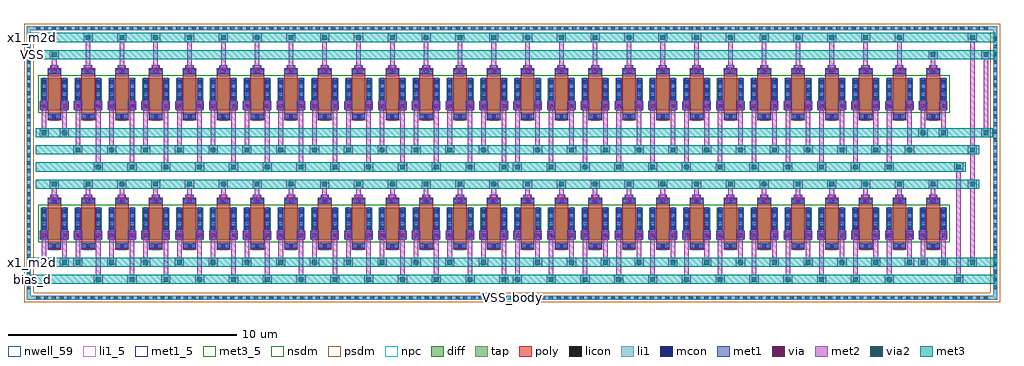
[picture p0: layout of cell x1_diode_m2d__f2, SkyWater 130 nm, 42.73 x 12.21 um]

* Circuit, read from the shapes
.subckt x1_diode_m2d__f2 VSS VSS_body bias_d x1_m2d
XM1 x1_m2d x1_m2d x1_m2d VSS_body sky130_fd_pr__nfet_01v8 w=1.4 l=0.6 m=2
XM2 VSS VSS VSS VSS_body sky130_fd_pr__nfet_01v8 w=1.4 l=0.6 m=2
XM3 bias_d x1_m2d x1_m2d VSS_body sky130_fd_pr__nfet_01v8 w=1.4 l=0.6 m=50
.ends

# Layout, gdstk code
from math import pi, radians
import gdstk
lib = gdstk.Library(unit=1e-6, precision=1e-09)
def R(c, l, rs):  # rectangles x0, y0, x1, y1
    for r in rs: c.add(gdstk.rectangle(r[:2], r[2:], *l))
def A(c, l, x, y, w, h, nx, ny, dx, dy):  # array of equal rectangles
    R(c, l, [(x+i*dx, y+j*dy, x+i*dx+w, y+j*dy+h) for i in range(nx) for j in range(ny)])
nwell_59 = (64, 59)
diff = (65, 20)
tap = (65, 44)
poly = (66, 20)
licon = (66, 44)
li1_5 = (67, 5)
li1 = (67, 20)
mcon = (67, 44)
met1_5 = (68, 5)
met1 = (68, 20)
via = (68, 44)
met2 = (69, 20)
via2 = (69, 44)
met3_5 = (70, 5)
met3 = (70, 20)
nsdm = (93, 44)
psdm = (94, 20)
npc = (95, 20)

sky130_fd_pr__nfet_01v8_ = lib.new_cell('sky130_fd_pr__nfet_01v8_KCM6UP')
R(sky130_fd_pr__nfet_01v8_, diff, [(-0.59,-0.7,0.59,0.7)])
R(sky130_fd_pr__nfet_01v8_, poly, [(-0.3,-1.14,0.3,1.14)])
A(sky130_fd_pr__nfet_01v8_, licon, -0.53, -0.595, 0.17, 0.17, 1, 4, 0, 0.34)
A(sky130_fd_pr__nfet_01v8_, licon, 0.36, -0.595, 0.17, 0.17, 1, 4, 0, 0.34)
R(sky130_fd_pr__nfet_01v8_, licon, [(-0.085,-1.06,0.085,-0.89), (-0.085,0.89,0.085,1.06)])
R(sky130_fd_pr__nfet_01v8_, li1, [(-0.3,-1.06,0.3,-0.89), (-0.53,-0.72,-0.36,0.72), (0.36,-0.72,0.53,0.72), (-0.3,0.89,0.3,1.06)])
A(sky130_fd_pr__nfet_01v8_, mcon, -0.53, -0.625, 0.17, 0.17, 1, 4, 0, 0.36)
A(sky130_fd_pr__nfet_01v8_, mcon, 0.36, -0.625, 0.17, 0.17, 1, 4, 0, 0.36)
R(sky130_fd_pr__nfet_01v8_, mcon, [(-0.085,-1.06,0.085,-0.89), (-0.085,0.89,0.085,1.06)])
R(sky130_fd_pr__nfet_01v8_, met1, [(-0.28,-1.09,0.28,-0.86), (-0.56,-0.7,-0.33,0.7), (0.33,-0.7,0.56,0.7), (-0.28,0.86,0.28,1.09)])
R(sky130_fd_pr__nfet_01v8_, nsdm, [(-0.715,-0.825,0.715,0.825)])
R(sky130_fd_pr__nfet_01v8_, npc, [(-0.185,-1.16,0.185,-0.79), (-0.185,0.79,0.185,1.16)])
sky130_fd_pr__nfet_01v8_.add(gdstk.Label('D', (-0.445,0), layer=67, texttype=5))
sky130_fd_pr__nfet_01v8_.add(gdstk.Label('S', (0.445,0), layer=67, texttype=5))
sky130_fd_pr__nfet_01v8_.add(gdstk.Label('G', (0,0.975), layer=67, texttype=5))

nfet_01v8_w1p4_l0p6_m50_ = lib.new_cell('nfet_01v8_W1p4_L0p6_m50__nf1_gboth_sdfull_ng')
R(nfet_01v8_w1p4_l0p6_m50_, nwell_59, [(0.05,1.09,0.15,1.19)])
R(nfet_01v8_w1p4_l0p6_m50_, met1_5, [(0.03,1.14,0.26,1.34), (0.92,1.14,1.15,1.34), (0.31,2,0.87,2.23)])
R(nfet_01v8_w1p4_l0p6_m50_, met1, [(0.03,1.14,0.26,1.34), (0.92,1.14,1.15,1.34), (0.31,2,0.87,2.23)])
nfet_01v8_w1p4_l0p6_m50_.add(gdstk.Reference(sky130_fd_pr__nfet_01v8_, (0.59,1.14)))
nfet_01v8_w1p4_l0p6_m50_.add(gdstk.Label('D', (0.145,1.24), layer=68, texttype=5))
nfet_01v8_w1p4_l0p6_m50_.add(gdstk.Label('S', (1.035,1.24), layer=68, texttype=5))
nfet_01v8_w1p4_l0p6_m50_.add(gdstk.Label('G', (0.59,2.115), layer=68, texttype=5))
nfet_01v8_w1p4_l0p6_m50_.add(gdstk.Label('B', (0.1,1.14), layer=64, texttype=59))

nfet_01v8_w1p4_l0p6_m2__ = lib.new_cell('nfet_01v8_W1p4_L0p6_m2__nf1_gboth_sdfull_ng')
R(nfet_01v8_w1p4_l0p6_m2__, nwell_59, [(0.05,1.09,0.15,1.19)])
R(nfet_01v8_w1p4_l0p6_m2__, met1_5, [(0.03,1.14,0.26,1.34), (0.92,1.14,1.15,1.34), (0.31,2,0.87,2.23)])
R(nfet_01v8_w1p4_l0p6_m2__, met1, [(0.03,1.14,0.26,1.34), (0.92,1.14,1.15,1.34), (0.31,2,0.87,2.23)])
nfet_01v8_w1p4_l0p6_m2__.add(gdstk.Reference(sky130_fd_pr__nfet_01v8_, (0.59,1.14)))
nfet_01v8_w1p4_l0p6_m2__.add(gdstk.Label('D', (0.145,1.24), layer=68, texttype=5))
nfet_01v8_w1p4_l0p6_m2__.add(gdstk.Label('S', (1.035,1.24), layer=68, texttype=5))
nfet_01v8_w1p4_l0p6_m2__.add(gdstk.Label('G', (0.59,2.115), layer=68, texttype=5))
nfet_01v8_w1p4_l0p6_m2__.add(gdstk.Label('B', (0.1,1.14), layer=64, texttype=59))

x1_diode_m2d__f2 = lib.new_cell('x1_diode_m2d__f2')
R(x1_diode_m2d__f2, tap, [(-0.485,-2.185,41.995,-2.015), (-0.485,-2.015,-0.315,9.605), (41.825,-2.015,41.995,9.605), (-0.485,9.605,41.995,9.775)])
A(x1_diode_m2d__f2, licon, -0.07, -2.185, 0.17, 0.17, 123, 2, 0.34, 11.79)
A(x1_diode_m2d__f2, licon, -0.485, -1.73, 0.17, 0.17, 1, 33, 0, 0.34)
A(x1_diode_m2d__f2, licon, 41.825, -1.73, 0.17, 0.17, 1, 33, 0, 0.34)
R(x1_diode_m2d__f2, li1_5, [(20.705,-2.15,20.805,-2.05)])
R(x1_diode_m2d__f2, li1, [(-0.485,-2.185,41.995,-2.015), (-0.485,-2.015,-0.315,9.605), (41.825,-2.015,41.995,9.605), (-0.485,9.605,41.995,9.775)])
A(x1_diode_m2d__f2, met1, 0.535, 2.05, 0.36, 0.36, 27, 2, 1.48, 5.67)
R(x1_diode_m2d__f2, met1, [(0.09,0.46,0.45,0.82), (0.98,0.46,1.34,0.82), (1.57,0.46,1.93,0.82), (2.46,0.46,2.82,0.82), (3.05,0.46,3.41,0.82), (3.94,0.46,4.3,0.82), (4.53,0.46,4.89,0.82), (5.42,0.46,5.78,0.82), (6.01,0.46,6.37,0.82), (6.9,0.46,7.26,0.82), (7.49,0.46,7.85,0.82), (8.38,0.46,8.74,0.82), (8.97,0.46,9.33,0.82), (9.86,0.46,10.22,0.82), (10.45,0.46,10.81,0.82), (11.34,0.46,11.7,0.82), (11.93,0.46,12.29,0.82), (12.82,0.46,13.18,0.82), (13.41,0.46,13.77,0.82), (14.3,0.46,14.66,0.82), (14.89,0.46,15.25,0.82), (15.78,0.46,16.14,0.82), (16.37,0.46,16.73,0.82), (17.26,0.46,17.62,0.82), (17.85,0.46,18.21,0.82), (18.74,0.46,19.1,0.82), (19.33,0.46,19.69,0.82), (20.22,0.46,20.58,0.82), (20.81,0.46,21.17,0.82), (21.7,0.46,22.06,0.82), (22.29,0.46,22.65,0.82), (23.18,0.46,23.54,0.82), (23.77,0.46,24.13,0.82), (24.66,0.46,25.02,0.82), (25.25,0.46,25.61,0.82), (26.14,0.46,26.5,0.82), (26.73,0.46,27.09,0.82), (27.62,0.46,27.98,0.82), (28.21,0.46,28.57,0.82), (29.1,0.46,29.46,0.82), (29.69,0.46,30.05,0.82), (30.58,0.46,30.94,0.82), (31.17,0.46,31.53,0.82), (32.06,0.46,32.42,0.82), (32.65,0.46,33.01,0.82), (33.54,0.46,33.9,0.82), (34.13,0.46,34.49,0.82), (35.02,0.46,35.38,0.82), (35.61,0.46,35.97,0.82), (36.5,0.46,36.86,0.82), (37.09,0.46,37.45,0.82), (37.98,0.46,38.34,0.82), (38.57,0.46,38.93,0.82), (39.46,0.46,39.82,0.82), (0.09,6.13,0.45,6.49), (0.98,6.13,1.34,6.49), (1.57,6.13,1.93,6.49), (2.46,6.13,2.82,6.49), (3.05,6.13,3.41,6.49), (3.94,6.13,4.3,6.49), (4.53,6.13,4.89,6.49), (5.42,6.13,5.78,6.49), (6.01,6.13,6.37,6.49), (6.9,6.13,7.26,6.49), (7.49,6.13,7.85,6.49), (8.38,6.13,8.74,6.49), (8.97,6.13,9.33,6.49), (9.86,6.13,10.22,6.49), (10.45,6.13,10.81,6.49), (11.34,6.13,11.7,6.49), (11.93,6.13,12.29,6.49), (12.82,6.13,13.18,6.49), (13.41,6.13,13.77,6.49), (14.3,6.13,14.66,6.49), (14.89,6.13,15.25,6.49), (15.78,6.13,16.14,6.49), (16.37,6.13,16.73,6.49), (17.26,6.13,17.62,6.49), (17.85,6.13,18.21,6.49), (18.74,6.13,19.1,6.49), (19.33,6.13,19.69,6.49), (20.22,6.13,20.58,6.49), (20.81,6.13,21.17,6.49), (21.7,6.13,22.06,6.49), (22.29,6.13,22.65,6.49), (23.18,6.13,23.54,6.49), (23.77,6.13,24.13,6.49), (24.66,6.13,25.02,6.49), (25.25,6.13,25.61,6.49), (26.14,6.13,26.5,6.49), (26.73,6.13,27.09,6.49), (27.62,6.13,27.98,6.49), (28.21,6.13,28.57,6.49), (29.1,6.13,29.46,6.49), (29.69,6.13,30.05,6.49), (30.58,6.13,30.94,6.49), (31.17,6.13,31.53,6.49), (32.06,6.13,32.42,6.49), (32.65,6.13,33.01,6.49), (33.54,6.13,33.9,6.49), (34.13,6.13,34.49,6.49), (35.02,6.13,35.38,6.49), (35.61,6.13,35.97,6.49), (36.5,6.13,36.86,6.49), (37.09,6.13,37.45,6.49), (37.98,6.13,38.34,6.49), (38.57,6.13,38.93,6.49), (39.46,6.13,39.82,6.49)])
A(x1_diode_m2d__f2, via, 0.64, 2.155, 0.15, 0.15, 27, 2, 1.48, 5.67)
R(x1_diode_m2d__f2, via, [(0.195,0.565,0.345,0.715), (1.085,0.565,1.235,0.715), (1.675,0.565,1.825,0.715), (2.565,0.565,2.715,0.715), (3.155,0.565,3.305,0.715), (4.045,0.565,4.195,0.715), (4.635,0.565,4.785,0.715), (5.525,0.565,5.675,0.715), (6.115,0.565,6.265,0.715), (7.005,0.565,7.155,0.715), (7.595,0.565,7.745,0.715), (8.485,0.565,8.635,0.715), (9.075,0.565,9.225,0.715), (9.965,0.565,10.115,0.715), (10.555,0.565,10.705,0.715), (11.445,0.565,11.595,0.715), (12.035,0.565,12.185,0.715), (12.925,0.565,13.075,0.715), (13.515,0.565,13.665,0.715), (14.405,0.565,14.555,0.715), (14.995,0.565,15.145,0.715), (15.885,0.565,16.035,0.715), (16.475,0.565,16.625,0.715), (17.365,0.565,17.515,0.715), (17.955,0.565,18.105,0.715), (18.845,0.565,18.995,0.715), (19.435,0.565,19.585,0.715), (20.325,0.565,20.475,0.715), (20.915,0.565,21.065,0.715), (21.805,0.565,21.955,0.715), (22.395,0.565,22.545,0.715), (23.285,0.565,23.435,0.715), (23.875,0.565,24.025,0.715), (24.765,0.565,24.915,0.715), (25.355,0.565,25.505,0.715), (26.245,0.565,26.395,0.715), (26.835,0.565,26.985,0.715), (27.725,0.565,27.875,0.715), (28.315,0.565,28.465,0.715), (29.205,0.565,29.355,0.715), (29.795,0.565,29.945,0.715), (30.685,0.565,30.835,0.715), (31.275,0.565,31.425,0.715), (32.165,0.565,32.315,0.715), (32.755,0.565,32.905,0.715), (33.645,0.565,33.795,0.715), (34.235,0.565,34.385,0.715), (35.125,0.565,35.275,0.715), (35.715,0.565,35.865,0.715), (36.605,0.565,36.755,0.715), (37.195,0.565,37.345,0.715), (38.085,0.565,38.235,0.715), (38.675,0.565,38.825,0.715), (39.565,0.565,39.715,0.715), (0.195,6.235,0.345,6.385), (1.085,6.235,1.235,6.385), (1.675,6.235,1.825,6.385), (2.565,6.235,2.715,6.385), (3.155,6.235,3.305,6.385), (4.045,6.235,4.195,6.385), (4.635,6.235,4.785,6.385), (5.525,6.235,5.675,6.385), (6.115,6.235,6.265,6.385), (7.005,6.235,7.155,6.385), (7.595,6.235,7.745,6.385), (8.485,6.235,8.635,6.385), (9.075,6.235,9.225,6.385), (9.965,6.235,10.115,6.385), (10.555,6.235,10.705,6.385), (11.445,6.235,11.595,6.385), (12.035,6.235,12.185,6.385), (12.925,6.235,13.075,6.385), (13.515,6.235,13.665,6.385), (14.405,6.235,14.555,6.385), (14.995,6.235,15.145,6.385), (15.885,6.235,16.035,6.385), (16.475,6.235,16.625,6.385), (17.365,6.235,17.515,6.385), (17.955,6.235,18.105,6.385), (18.845,6.235,18.995,6.385), (19.435,6.235,19.585,6.385), (20.325,6.235,20.475,6.385), (20.915,6.235,21.065,6.385), (21.805,6.235,21.955,6.385), (22.395,6.235,22.545,6.385), (23.285,6.235,23.435,6.385), (23.875,6.235,24.025,6.385), (24.765,6.235,24.915,6.385), (25.355,6.235,25.505,6.385), (26.245,6.235,26.395,6.385), (26.835,6.235,26.985,6.385), (27.725,6.235,27.875,6.385), (28.315,6.235,28.465,6.385), (29.205,6.235,29.355,6.385), (29.795,6.235,29.945,6.385), (30.685,6.235,30.835,6.385), (31.275,6.235,31.425,6.385), (32.165,6.235,32.315,6.385), (32.755,6.235,32.905,6.385), (33.645,6.235,33.795,6.385), (34.235,6.235,34.385,6.385), (35.125,6.235,35.275,6.385), (35.715,6.235,35.865,6.385), (36.605,6.235,36.755,6.385), (37.195,6.235,37.345,6.385), (38.085,6.235,38.235,6.385), (38.675,6.235,38.825,6.385), (39.565,6.235,39.715,6.385)])
A(x1_diode_m2d__f2, met2, 2.44, -1.5, 0.4, 0.4, 13, 2, 1.48, 4.92)
A(x1_diode_m2d__f2, met2, 20.79, -1.5, 0.4, 0.4, 12, 2, 1.48, 4.92)
A(x1_diode_m2d__f2, met2, 2.54, -1.1, 0.2, 1.58, 13, 1, 1.48, 0)
A(x1_diode_m2d__f2, met2, 20.89, -1.1, 0.2, 1.58, 12, 1, 1.48, 0)
A(x1_diode_m2d__f2, met2, 1.55, -0.75, 0.4, 0.4, 13, 2, 1.48, 4.92)
A(x1_diode_m2d__f2, met2, 21.68, -0.75, 0.4, 0.4, 12, 2, 1.48, 4.92)
A(x1_diode_m2d__f2, met2, 1.65, -0.35, 0.2, 0.83, 13, 1, 1.48, 0)
A(x1_diode_m2d__f2, met2, 21.78, -0.35, 0.2, 0.83, 12, 1, 1.48, 0)
A(x1_diode_m2d__f2, met2, 0.585, 2.07, 0.26, 0.32, 27, 2, 1.48, 5.67)
A(x1_diode_m2d__f2, met2, 0.615, 2.39, 0.2, 0.28, 27, 1, 1.48, 0)
A(x1_diode_m2d__f2, met2, 0.515, 2.67, 0.4, 0.4, 27, 1, 1.48, 0)
A(x1_diode_m2d__f2, met2, 2.54, 3.82, 0.2, 2.33, 13, 1, 1.48, 0)
A(x1_diode_m2d__f2, met2, 20.89, 3.82, 0.2, 2.33, 12, 1, 1.48, 0)
A(x1_diode_m2d__f2, met2, 1.65, 4.57, 0.2, 1.58, 13, 1, 1.48, 0)
A(x1_diode_m2d__f2, met2, 21.78, 4.57, 0.2, 1.58, 12, 1, 1.48, 0)
A(x1_diode_m2d__f2, met2, 2.095, 8.06, 0.2, 1.03, 25, 1, 1.48, 0)
A(x1_diode_m2d__f2, met2, 1.995, 9.09, 0.4, 0.4, 25, 1, 1.48, 0)
R(x1_diode_m2d__f2, met2, [(40.11,-1.5,40.51,-1.1), (40.21,-1.1,40.41,3.42), (0.07,-0.75,0.47,-0.35), (0.96,-0.75,1.36,-0.35), (38.55,-0.75,38.95,-0.35), (39.44,-0.75,39.84,-0.35), (40.71,-0.75,41.11,-0.35), (0.17,-0.35,0.37,0.48), (1.06,-0.35,1.26,0.48), (38.65,-0.35,38.85,0.48), (39.54,-0.35,39.74,0.48), (40.81,-0.35,41.01,2.67), (0.14,0.48,0.4,0.8), (1.03,0.48,1.29,0.8), (1.62,0.48,1.88,0.8), (2.51,0.48,2.77,0.8), (3.1,0.48,3.36,0.8), (3.99,0.48,4.25,0.8), (4.58,0.48,4.84,0.8), (5.47,0.48,5.73,0.8), (6.06,0.48,6.32,0.8), (6.95,0.48,7.21,0.8), (7.54,0.48,7.8,0.8), (8.43,0.48,8.69,0.8), (9.02,0.48,9.28,0.8), (9.91,0.48,10.17,0.8), (10.5,0.48,10.76,0.8), (11.39,0.48,11.65,0.8), (11.98,0.48,12.24,0.8), (12.87,0.48,13.13,0.8), (13.46,0.48,13.72,0.8), (14.35,0.48,14.61,0.8), (14.94,0.48,15.2,0.8), (15.83,0.48,16.09,0.8), (16.42,0.48,16.68,0.8), (17.31,0.48,17.57,0.8), (17.9,0.48,18.16,0.8), (18.79,0.48,19.05,0.8), (19.38,0.48,19.64,0.8), (20.27,0.48,20.53,0.8), (20.86,0.48,21.12,0.8), (21.75,0.48,22.01,0.8), (22.34,0.48,22.6,0.8), (23.23,0.48,23.49,0.8), (23.82,0.48,24.08,0.8), (24.71,0.48,24.97,0.8), (25.3,0.48,25.56,0.8), (26.19,0.48,26.45,0.8), (26.78,0.48,27.04,0.8), (27.67,0.48,27.93,0.8), (28.26,0.48,28.52,0.8), (29.15,0.48,29.41,0.8), (29.74,0.48,30,0.8), (30.63,0.48,30.89,0.8), (31.22,0.48,31.48,0.8), (32.11,0.48,32.37,0.8), (32.7,0.48,32.96,0.8), (33.59,0.48,33.85,0.8), (34.18,0.48,34.44,0.8), (35.07,0.48,35.33,0.8), (35.66,0.48,35.92,0.8), (36.55,0.48,36.81,0.8), (37.14,0.48,37.4,0.8), (38.03,0.48,38.29,0.8), (38.62,0.48,38.88,0.8), (39.51,0.48,39.77,0.8), (40.71,2.67,41.11,3.07), (40.81,3.07,41.01,4.17), (40.11,3.42,40.51,3.82), (40.71,4.17,41.11,4.57), (40.81,4.57,41.01,9.09), (0.07,4.92,0.47,5.32), (0.96,4.92,1.36,5.32), (38.55,4.92,38.95,5.32), (39.44,4.92,39.84,5.32), (41.31,4.92,41.71,5.32), (0.17,5.32,0.37,6.15), (1.06,5.32,1.26,6.15), (38.65,5.32,38.85,6.15), (39.54,5.32,39.74,6.15), (41.41,5.32,41.61,8.34), (0.14,6.15,0.4,6.47), (1.03,6.15,1.29,6.47), (1.62,6.15,1.88,6.47), (2.51,6.15,2.77,6.47), (3.1,6.15,3.36,6.47), (3.99,6.15,4.25,6.47), (4.58,6.15,4.84,6.47), (5.47,6.15,5.73,6.47), (6.06,6.15,6.32,6.47), (6.95,6.15,7.21,6.47), (7.54,6.15,7.8,6.47), (8.43,6.15,8.69,6.47), (9.02,6.15,9.28,6.47), (9.91,6.15,10.17,6.47), (10.5,6.15,10.76,6.47), (11.39,6.15,11.65,6.47), (11.98,6.15,12.24,6.47), (12.87,6.15,13.13,6.47), (13.46,6.15,13.72,6.47), (14.35,6.15,14.61,6.47), (14.94,6.15,15.2,6.47), (15.83,6.15,16.09,6.47), (16.42,6.15,16.68,6.47), (17.31,6.15,17.57,6.47), (17.9,6.15,18.16,6.47), (18.79,6.15,19.05,6.47), (19.38,6.15,19.64,6.47), (20.27,6.15,20.53,6.47), (20.86,6.15,21.12,6.47), (21.75,6.15,22.01,6.47), (22.34,6.15,22.6,6.47), (23.23,6.15,23.49,6.47), (23.82,6.15,24.08,6.47), (24.71,6.15,24.97,6.47), (25.3,6.15,25.56,6.47), (26.19,6.15,26.45,6.47), (26.78,6.15,27.04,6.47), (27.67,6.15,27.93,6.47), (28.26,6.15,28.52,6.47), (29.15,6.15,29.41,6.47), (29.74,6.15,30,6.47), (30.63,6.15,30.89,6.47), (31.22,6.15,31.48,6.47), (32.11,6.15,32.37,6.47), (32.7,6.15,32.96,6.47), (33.59,6.15,33.85,6.47), (34.18,6.15,34.44,6.47), (35.07,6.15,35.33,6.47), (35.66,6.15,35.92,6.47), (36.55,6.15,36.81,6.47), (37.14,6.15,37.4,6.47), (38.03,6.15,38.29,6.47), (38.62,6.15,38.88,6.47), (39.51,6.15,39.77,6.47), (0.615,8.06,0.815,8.34), (39.095,8.06,39.295,8.34), (0.515,8.34,0.915,8.74), (38.995,8.34,39.395,8.74), (41.31,8.34,41.71,8.74), (40.71,9.09,41.11,9.49)])
A(x1_diode_m2d__f2, via2, 2.54, -1.4, 0.2, 0.2, 13, 2, 1.48, 4.92)
A(x1_diode_m2d__f2, via2, 20.89, -1.4, 0.2, 0.2, 12, 2, 1.48, 4.92)
A(x1_diode_m2d__f2, via2, 1.65, -0.65, 0.2, 0.2, 13, 2, 1.48, 4.92)
A(x1_diode_m2d__f2, via2, 21.78, -0.65, 0.2, 0.2, 12, 2, 1.48, 4.92)
A(x1_diode_m2d__f2, via2, 0.615, 2.77, 0.2, 0.2, 27, 1, 1.48, 0)
A(x1_diode_m2d__f2, via2, 2.095, 9.19, 0.2, 0.2, 25, 1, 1.48, 0)
R(x1_diode_m2d__f2, via2, [(40.21,-1.4,40.41,-1.2), (0.17,-0.65,0.37,-0.45), (1.06,-0.65,1.26,-0.45), (38.65,-0.65,38.85,-0.45), (39.54,-0.65,39.74,-0.45), (40.81,-0.65,41.01,-0.45), (40.81,2.77,41.01,2.97), (40.21,3.52,40.41,3.72), (40.81,4.27,41.01,4.47), (0.17,5.02,0.37,5.22), (1.06,5.02,1.26,5.22), (38.65,5.02,38.85,5.22), (39.54,5.02,39.74,5.22), (41.41,5.02,41.61,5.22), (0.615,8.44,0.815,8.64), (39.095,8.44,39.295,8.64), (41.41,8.44,41.61,8.64), (40.81,9.19,41.01,9.39)])
R(x1_diode_m2d__f2, met3_5, [(-0.3,-1.35,-0.2,-1.25), (-0.3,-0.6,-0.2,-0.5), (-0.3,8.49,-0.2,8.59), (-0.3,9.24,-0.2,9.34)])
R(x1_diode_m2d__f2, met3, [(-0.4,-1.5,41.91,-1.1), (-0.4,-0.75,41.91,-0.35), (-0.1,2.67,41.21,3.07), (-0.1,3.42,40.61,3.82), (-0.1,4.17,41.21,4.57), (-0.1,4.92,41.81,5.32), (-0.4,8.34,41.91,8.74), (-0.4,9.09,41.91,9.49)])
A(x1_diode_m2d__f2, nsdm, 1.435, 0.315, 0.05, 1.65, 26, 2, 1.48, 5.67)
R(x1_diode_m2d__f2, psdm, [(-0.61,-2.31,42.12,-1.89), (-0.61,-1.89,-0.19,9.48), (41.7,-1.89,42.12,9.48), (-0.61,9.48,42.12,9.9)])
x1_diode_m2d__f2.add(gdstk.Reference(nfet_01v8_w1p4_l0p6_m50_, (39.79,5.67), rotation=pi, x_reflection=True))
x1_diode_m2d__f2.add(gdstk.Reference(nfet_01v8_w1p4_l0p6_m50_, (38.31,5.67), rotation=pi, x_reflection=True))
x1_diode_m2d__f2.add(gdstk.Reference(nfet_01v8_w1p4_l0p6_m50_, (36.83,5.67), rotation=pi, x_reflection=True))
x1_diode_m2d__f2.add(gdstk.Reference(nfet_01v8_w1p4_l0p6_m50_, (35.35,5.67), rotation=pi, x_reflection=True))
x1_diode_m2d__f2.add(gdstk.Reference(nfet_01v8_w1p4_l0p6_m50_, (33.87,5.67), rotation=pi, x_reflection=True))
x1_diode_m2d__f2.add(gdstk.Reference(nfet_01v8_w1p4_l0p6_m50_, (32.39,5.67), rotation=pi, x_reflection=True))
x1_diode_m2d__f2.add(gdstk.Reference(nfet_01v8_w1p4_l0p6_m50_, (30.91,5.67), rotation=pi, x_reflection=True))
x1_diode_m2d__f2.add(gdstk.Reference(nfet_01v8_w1p4_l0p6_m50_, (29.43,5.67), rotation=pi, x_reflection=True))
x1_diode_m2d__f2.add(gdstk.Reference(nfet_01v8_w1p4_l0p6_m50_, (27.95,5.67), rotation=pi, x_reflection=True))
x1_diode_m2d__f2.add(gdstk.Reference(nfet_01v8_w1p4_l0p6_m50_, (26.47,5.67), rotation=pi, x_reflection=True))
x1_diode_m2d__f2.add(gdstk.Reference(nfet_01v8_w1p4_l0p6_m50_, (24.99,5.67), rotation=pi, x_reflection=True))
x1_diode_m2d__f2.add(gdstk.Reference(nfet_01v8_w1p4_l0p6_m50_, (23.51,5.67), rotation=pi, x_reflection=True))
x1_diode_m2d__f2.add(gdstk.Reference(nfet_01v8_w1p4_l0p6_m50_, (22.03,5.67), rotation=pi, x_reflection=True))
x1_diode_m2d__f2.add(gdstk.Reference(nfet_01v8_w1p4_l0p6_m50_, (19.37,5.67)))
x1_diode_m2d__f2.add(gdstk.Reference(nfet_01v8_w1p4_l0p6_m50_, (17.89,5.67)))
x1_diode_m2d__f2.add(gdstk.Reference(nfet_01v8_w1p4_l0p6_m50_, (16.41,5.67)))
x1_diode_m2d__f2.add(gdstk.Reference(nfet_01v8_w1p4_l0p6_m50_, (14.93,5.67)))
x1_diode_m2d__f2.add(gdstk.Reference(nfet_01v8_w1p4_l0p6_m50_, (13.45,5.67)))
x1_diode_m2d__f2.add(gdstk.Reference(nfet_01v8_w1p4_l0p6_m50_, (11.97,5.67)))
x1_diode_m2d__f2.add(gdstk.Reference(nfet_01v8_w1p4_l0p6_m50_, (10.49,5.67)))
x1_diode_m2d__f2.add(gdstk.Reference(nfet_01v8_w1p4_l0p6_m50_, (9.01,5.67)))
x1_diode_m2d__f2.add(gdstk.Reference(nfet_01v8_w1p4_l0p6_m50_, (7.53,5.67)))
x1_diode_m2d__f2.add(gdstk.Reference(nfet_01v8_w1p4_l0p6_m50_, (6.05,5.67)))
x1_diode_m2d__f2.add(gdstk.Reference(nfet_01v8_w1p4_l0p6_m50_, (4.57,5.67)))
x1_diode_m2d__f2.add(gdstk.Reference(nfet_01v8_w1p4_l0p6_m50_, (3.09,5.67)))
x1_diode_m2d__f2.add(gdstk.Reference(nfet_01v8_w1p4_l0p6_m50_, (1.61,5.67)))
x1_diode_m2d__f2.add(gdstk.Reference(nfet_01v8_w1p4_l0p6_m50_, (0.13,5.67)))
x1_diode_m2d__f2.add(gdstk.Reference(nfet_01v8_w1p4_l0p6_m2__, (38.61,0)))
x1_diode_m2d__f2.add(gdstk.Reference(nfet_01v8_w1p4_l0p6_m50_, (38.31,0), rotation=pi, x_reflection=True))
x1_diode_m2d__f2.add(gdstk.Reference(nfet_01v8_w1p4_l0p6_m50_, (36.83,0), rotation=pi, x_reflection=True))
x1_diode_m2d__f2.add(gdstk.Reference(nfet_01v8_w1p4_l0p6_m50_, (35.35,0), rotation=pi, x_reflection=True))
x1_diode_m2d__f2.add(gdstk.Reference(nfet_01v8_w1p4_l0p6_m50_, (33.87,0), rotation=pi, x_reflection=True))
x1_diode_m2d__f2.add(gdstk.Reference(nfet_01v8_w1p4_l0p6_m50_, (32.39,0), rotation=pi, x_reflection=True))
x1_diode_m2d__f2.add(gdstk.Reference(nfet_01v8_w1p4_l0p6_m50_, (30.91,0), rotation=pi, x_reflection=True))
x1_diode_m2d__f2.add(gdstk.Reference(nfet_01v8_w1p4_l0p6_m50_, (29.43,0), rotation=pi, x_reflection=True))
x1_diode_m2d__f2.add(gdstk.Reference(nfet_01v8_w1p4_l0p6_m50_, (27.95,0), rotation=pi, x_reflection=True))
x1_diode_m2d__f2.add(gdstk.Reference(nfet_01v8_w1p4_l0p6_m50_, (26.47,0), rotation=pi, x_reflection=True))
x1_diode_m2d__f2.add(gdstk.Reference(nfet_01v8_w1p4_l0p6_m50_, (24.99,0), rotation=pi, x_reflection=True))
x1_diode_m2d__f2.add(gdstk.Reference(nfet_01v8_w1p4_l0p6_m50_, (23.51,0), rotation=pi, x_reflection=True))
x1_diode_m2d__f2.add(gdstk.Reference(nfet_01v8_w1p4_l0p6_m50_, (22.03,0), rotation=pi, x_reflection=True))
x1_diode_m2d__f2.add(gdstk.Reference(nfet_01v8_w1p4_l0p6_m50_, (19.37,0)))
x1_diode_m2d__f2.add(gdstk.Reference(nfet_01v8_w1p4_l0p6_m50_, (17.89,0)))
x1_diode_m2d__f2.add(gdstk.Reference(nfet_01v8_w1p4_l0p6_m50_, (16.41,0)))
x1_diode_m2d__f2.add(gdstk.Reference(nfet_01v8_w1p4_l0p6_m50_, (14.93,0)))
x1_diode_m2d__f2.add(gdstk.Reference(nfet_01v8_w1p4_l0p6_m50_, (13.45,0)))
x1_diode_m2d__f2.add(gdstk.Reference(nfet_01v8_w1p4_l0p6_m50_, (11.97,0)))
x1_diode_m2d__f2.add(gdstk.Reference(nfet_01v8_w1p4_l0p6_m50_, (10.49,0)))
x1_diode_m2d__f2.add(gdstk.Reference(nfet_01v8_w1p4_l0p6_m50_, (9.01,0)))
x1_diode_m2d__f2.add(gdstk.Reference(nfet_01v8_w1p4_l0p6_m50_, (7.53,0)))
x1_diode_m2d__f2.add(gdstk.Reference(nfet_01v8_w1p4_l0p6_m50_, (6.05,0)))
x1_diode_m2d__f2.add(gdstk.Reference(nfet_01v8_w1p4_l0p6_m50_, (4.57,0)))
x1_diode_m2d__f2.add(gdstk.Reference(nfet_01v8_w1p4_l0p6_m50_, (3.09,0)))
x1_diode_m2d__f2.add(gdstk.Reference(nfet_01v8_w1p4_l0p6_m50_, (1.61,0)))
x1_diode_m2d__f2.add(gdstk.Reference(nfet_01v8_w1p4_l0p6_m2__, (0.13,0)))
x1_diode_m2d__f2.add(gdstk.Label('VSS', (-0.25,8.54), layer=70, texttype=5))
x1_diode_m2d__f2.add(gdstk.Label('x1_m2d', (-0.25,9.29), layer=70, texttype=5))
x1_diode_m2d__f2.add(gdstk.Label('x1_m2d', (-0.25,-0.55), layer=70, texttype=5))
x1_diode_m2d__f2.add(gdstk.Label('bias_d', (-0.25,-1.3), layer=70, texttype=5))
x1_diode_m2d__f2.add(gdstk.Label('VSS_body', (20.755,-2.1), layer=67, texttype=5))

lib.write_gds('x1_diode_m2d__f2.gds')
